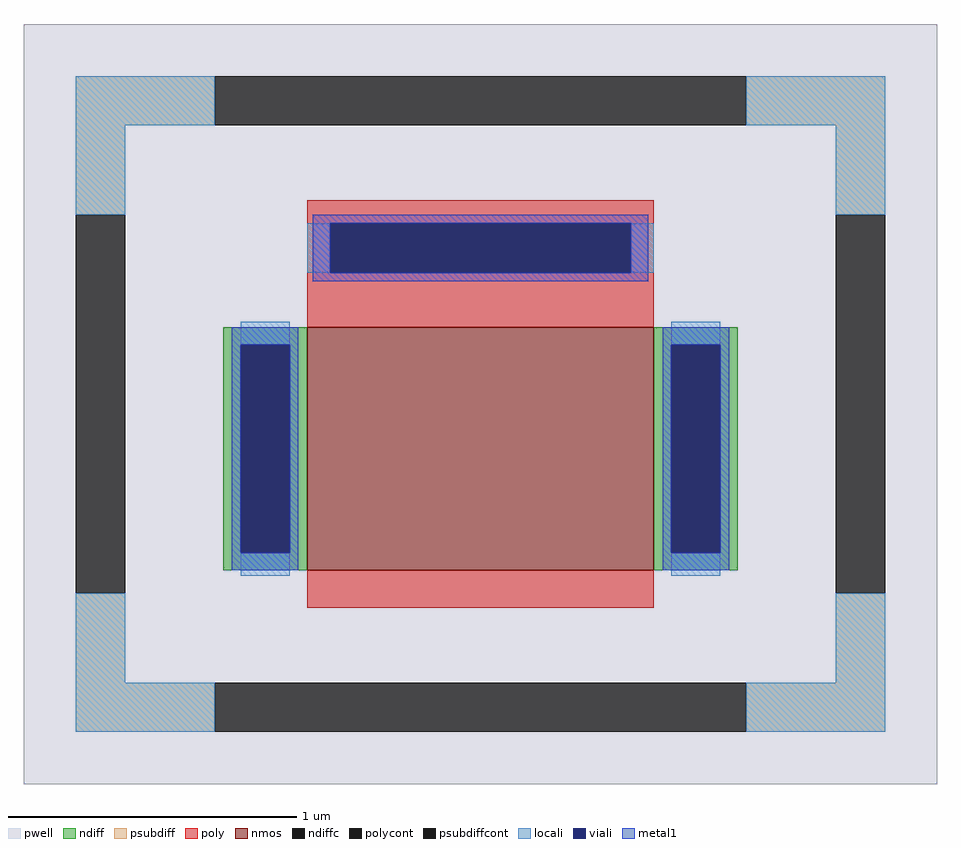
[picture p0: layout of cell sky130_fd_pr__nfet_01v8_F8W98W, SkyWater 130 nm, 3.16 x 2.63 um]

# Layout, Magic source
magic
tech sky130A
magscale 1 2
<< pwell >>
rect -316 -263 316 263
<< nmos >>
rect -120 -115 120 53
<< ndiff >>
rect -178 41 -120 53
rect -178 -103 -166 41
rect -132 -103 -120 41
rect -178 -115 -120 -103
rect 120 41 178 53
rect 120 -103 132 41
rect 166 -103 178 41
rect 120 -115 178 -103
<< ndiffc >>
rect -166 -103 -132 41
rect 132 -103 166 41
<< psubdiff >>
rect -280 193 -184 227
rect 184 193 280 227
rect -280 131 -246 193
rect 246 131 280 193
rect -280 -193 -246 -131
rect 246 -193 280 -131
rect -280 -227 -184 -193
rect 184 -227 280 -193
<< psubdiffcont >>
rect -184 193 184 227
rect -280 -131 -246 131
rect 246 -131 280 131
rect -184 -227 184 -193
<< poly >>
rect -120 125 120 141
rect -120 91 -104 125
rect 104 91 120 125
rect -120 53 120 91
rect -120 -141 120 -115
<< polycont >>
rect -104 91 104 125
<< locali >>
rect -280 193 -184 227
rect 184 193 280 227
rect -280 131 -246 193
rect 246 131 280 193
rect -120 91 -104 125
rect 104 91 120 125
rect -166 41 -132 57
rect -166 -119 -132 -103
rect 132 41 166 57
rect 132 -119 166 -103
rect -280 -193 -246 -131
rect 246 -193 280 -131
rect -280 -227 -184 -193
rect 184 -227 280 -193
<< viali >>
rect -104 91 104 125
rect -166 -103 -132 41
rect 132 -103 166 41
<< metal1 >>
rect -116 125 116 131
rect -116 91 -104 125
rect 104 91 116 125
rect -116 85 116 91
rect -172 41 -126 53
rect -172 -103 -166 41
rect -132 -103 -126 41
rect -172 -115 -126 -103
rect 126 41 172 53
rect 126 -103 132 41
rect 166 -103 172 41
rect 126 -115 172 -103
<< properties >>
string FIXED_BBOX -263 -210 263 210
string gencell sky130_fd_pr__nfet_01v8
string library sky130
string parameters w 0.84 l 1.2 m 1 nf 1 diffcov 100 polycov 100 guard 1 glc 1 grc 1 gtc 1 gbc 1 tbcov 100 rlcov 100 topc 1 botc 0 poverlap 0 doverlap 1 lmin 0.15 wmin 0.42 compatible {sky130_fd_pr__nfet_01v8 sky130_fd_pr__nfet_01v8_lvt  sky130_fd_bs_flash__special_sonosfet_star  sky130_fd_pr__nfet_g5v0d10v5 sky130_fd_pr__nfet_05v0_nvt  sky130_fd_pr__nfet_03v3_nvt} full_metal 1 viasrc 100 viadrn 100 viagate 100 viagb 0 viagr 0 viagl 0 viagt 0
<< end >>
